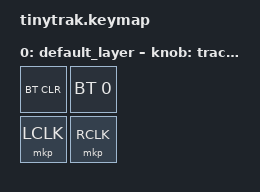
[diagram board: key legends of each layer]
#include <behaviors.dtsi>
#include <dt-bindings/zmk/keys.h>
#include <dt-bindings/zmk/bt.h>
#include <dt-bindings/zmk/mouse.h>

/ {
    keymap {
        compatible = "zmk,keymap";

        default_layer {
            bindings = <
                &bt BT_CLR      &bt BT_SEL 0
                &mkp LCLK       &mkp RCLK
            >;
            /* ここは input-listener の phandle“だけ”を書く */
            sensor-bindings = <&trackball_listener>;
        };
    };
};
